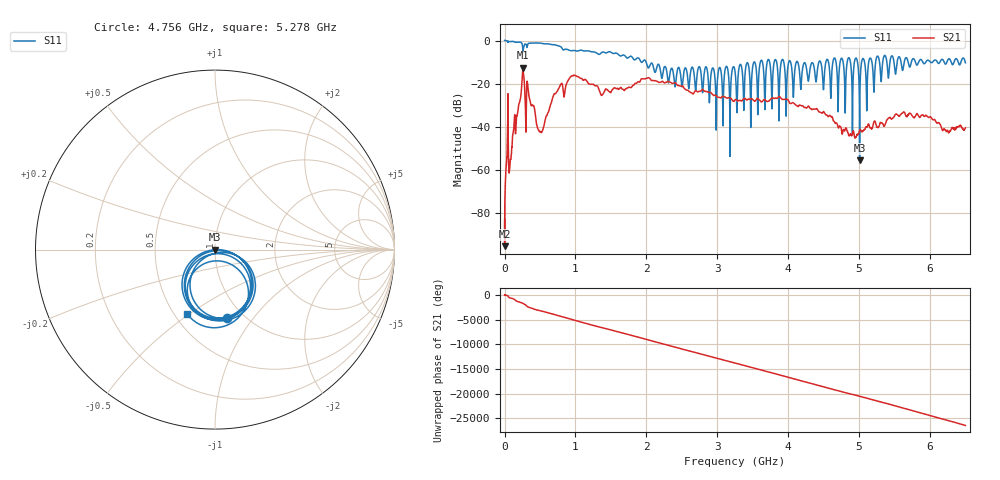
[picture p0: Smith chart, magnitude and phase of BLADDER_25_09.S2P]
!Keysight Technologies,E5063A,MY54503115,A.05.08
!Date: Sun Feb 04 18:28:25 2024
!Data & Calibration Information:
!Freq	S11:NONE(--)	S21:NONE(--)	S12:NONE(--)	S22:NONE(--)
# Hz S dB R 50
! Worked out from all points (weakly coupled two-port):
!   10001 points, 100 kHz to 6.5 GHz, reference 50 ohm
!   highest |S21| = -12.58 dB at 258.1 MHz (marker M1); lowest = -95.6 dB at 750 kHz (marker M2)
!   lowest |S11| = -55.6 dB at 5.008 GHz (marker M3), VSWR 1.00, Z = 50.2 - j0.0515 ohm
!   |S11| at or under -10 dB: 1.995 GHz to 3.517 GHz (1.522 GHz wide, 55.2 % of centre); 4.034 GHz to 4.115 GHz (81.11 MHz wide, 1.99 % of centre); 4.135 GHz to 4.433 GHz (298.8 MHz wide, 6.97 % of centre) (the widest 3 of 30)
!   S12 and S22 are empty: the file has one direction only
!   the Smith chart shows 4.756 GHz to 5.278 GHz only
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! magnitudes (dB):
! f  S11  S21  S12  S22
! 100 kHz  0.0  -83.1  -  -
! 750 kHz  0.0  -95.6  -  -
! 37.8 MHz  -0.2  -47.1  -  -
! 87.85 MHz  -0.5  -54.9  -  -
! 258.1 MHz  -4.7  -12.6  -  -
! 507.7 MHz  -1.2  -42.7  -  -
! 781.4 MHz  -2.7  -21.0  -  -
! 1.084 GHz  -4.5  -17.6  -  -
! 1.374 GHz  -5.5  -25.4  -  -
! 2.167 GHz  -11.0  -19.3  -  -
! 3.25 GHz  -14.2  -27.6  -  -
! 4.334 GHz  -10.4  -32.1  -  -
! 4.805 GHz  -33.5  -41.4  -  -
! 4.856 GHz  -8.0  -44.3  -  -
! 4.907 GHz  -43.9  -43.5  -  -
! 4.958 GHz  -8.1  -44.8  -  -
! 5.008 GHz  -55.6  -41.8  -  -
! 5.056 GHz  -8.3  -42.0  -  -
! 5.105 GHz  -26.3  -40.1  -  -
! 5.158 GHz  -8.1  -40.6  -  -
! 5.417 GHz  -17.0  -36.0  -  -
! 6.5 GHz  -10.3  -40.6  -  -
